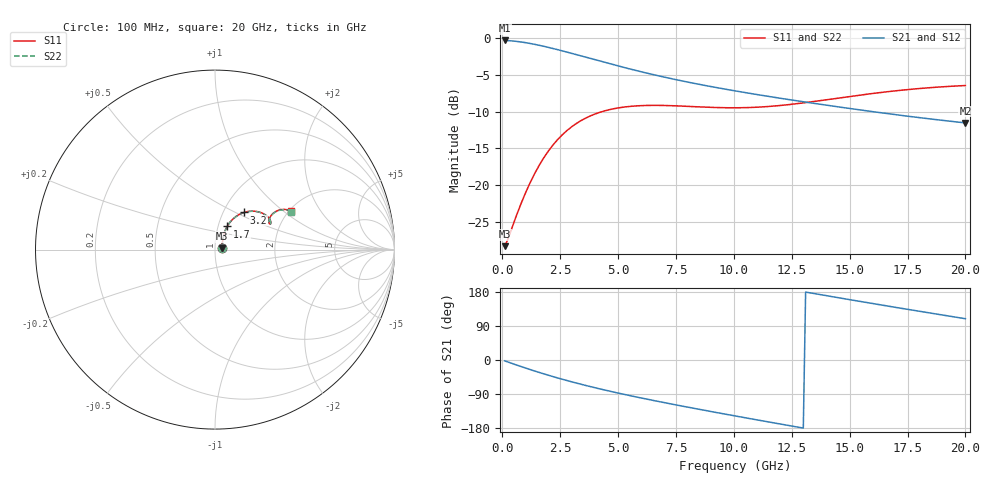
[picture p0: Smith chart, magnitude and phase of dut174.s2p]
! Touchstone file exported from HFSS 2024.1.0
!  File:  C:/UserFiles/LocalFiles/RDL_TSV_Batchsim/temp_RDL_TSV_174_1779437483.aedt
!  Generated:  04:26:42 PM May 22, 2026
!  Design:  RDL_TSV
!  Project:  temp_RDL_TSV_174_1779437483
!  Setup:  Setup1
!  Solution:  Sweep
! Variables:
!  dtsv = 12.56um
!  hbump = 3um
!  htsv = 57.7um
!  ldown = 404.14um
!  lrdl = 627.87um
!  p = 40
!  p1 = 50.36um
!  rhole = 10um
!  subl = 3723.9um
!  t = 450um
!  tdown = 3.17um
!  trdl = 2.49um
!  viad = 10um
!  wdown = 24.09um
!  wrdl = 10.67um
!  xbump = 18um
# GHz S MA R 50.000000
! Terminal data exported
! Port[1] = TM1_1_T1
! Port[2] = TM1_4_T1
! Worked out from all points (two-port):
!   200 points, 100 MHz to 20 GHz, reference 50 ohm
!   highest |S21| = -0.34 dB at 100 MHz (marker M1); lowest = -11.5 dB at 20 GHz (marker M2)
!   |S21| within 3 dB of the highest: start of sweep to 4.448 GHz
!   lowest |S11| = -28.3 dB at 100 MHz (marker M3), VSWR 1.08, Z = 53.9 + j0.855 ohm
!   |S11| at or under -10 dB: start of sweep to 4.315 GHz
!   |S22| runs from -28.3 to -6.5 dB; largest |S21 - S12| = 8.3e-15
!   S11 on the Smith chart (normalised r, x): 100 MHz: 1.08, +0.02; 1.7 GHz: 1.10, +0.29; 3.2 GHz: 1.25, +0.55; 20 GHz: 2.05, +1.13
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0.1  0.03852 11.9  0.962 -2.2  0.962 -2.2  0.03852 11.9
! Gamma 0 0 0 0
! Port Impedance 50 0 50 0
0.4  0.05037 37.3  0.9557 -8.7  0.9557 -8.7  0.05038 37.2
0.8  0.07427 53.4  0.9401 -17.1  0.9401 -17.1  0.07427 53.3
1.2  0.1038 60.4  0.9182 -25.2  0.9182 -25.2  0.1037 60.3
1.7  0.1456 62.3  0.8848 -34.9  0.8848 -34.9  0.1454 62.3
2.4  0.2049 58.9  0.8324 -47.5  0.8324 -47.5  0.2046 58.8
2.8  0.2356 55.6  0.8014 -54.4  0.8014 -54.4  0.2352 55.5
3.2  0.2626 52.0  0.7706 -60.9  0.7706 -60.9  0.2621 51.9
3.5  0.2802 49.2  0.748 -65.6  0.748 -65.6  0.2797 49.1
4.2  0.3121 43.1  0.6978 -76.1  0.6978 -76.1  0.3115 43.0
5.1  0.3367 36.3  0.6397 -88.6  0.6397 -88.6  0.336 36.2
5.9  0.3465 31.6  0.5946 -99.0  0.5946 -99.0  0.3457 31.5
6.8  0.3484 27.8  0.5508 -110.2  0.5508 -110.2  0.3476 27.7
7.6  0.3455 25.8  0.5172 -119.7  0.5172 -119.7  0.3447 25.7
8.4  0.3409 24.9  0.4877 -129.0  0.4877 -129.0  0.3402 24.8
10.1  0.3356 26.0  0.4358 -148.1  0.4358 -148.1  0.3349 26.0
11.7  0.3444 29.0  0.3963 -165.7  0.3963 -165.7  0.3438 28.9
13.4  0.3692 31.5  0.3608 176.1  0.3608 176.1  0.3685 31.3
15.1  0.4022 32.1  0.3303 158.2  0.3303 158.2  0.4013 31.9
16.7  0.4327 31.0  0.3054 141.8  0.3054 141.8  0.4316 30.8
18.3  0.4575 29.1  0.2841 125.7  0.2841 125.7  0.456 28.9
20  0.4753 26.7  0.2649 109.0  0.2649 109.0  0.4735 26.5
